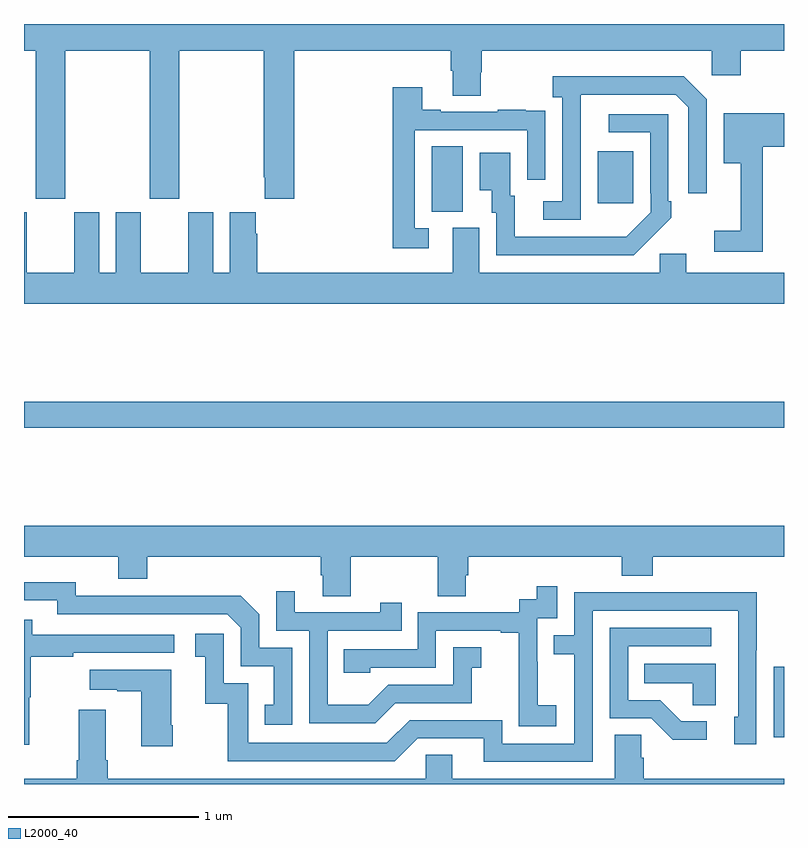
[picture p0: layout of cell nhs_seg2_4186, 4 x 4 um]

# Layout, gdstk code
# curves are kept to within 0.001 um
import gdstk
lib = gdstk.Library(unit=1e-6, precision=1e-09)
def R(c, l, rs):  # rectangles x0, y0, x1, y1
    for r in rs: c.add(gdstk.rectangle(r[:2], r[2:], *l))
def P(c, l, *ps):  # polygons
    for p in ps: c.add(gdstk.Polygon(p, *l))
L2000_40 = (2000, 40)

nhs_seg2_4186 = lib.new_cell('nhs_seg2_4186')
R(nhs_seg2_4186, L2000_40, [(340.947,620.046,341,620.416), (337,621.676,341,621.812), (339.146,622.813,339.31,623.156), (340.019,622.857,340.207,623.131)])
P(nhs_seg2_4186, L2000_40, [(337.218,623.66),(337.663,623.66),(337.663,622.881),(337.818,622.881),(337.818,623.66),(338.263,623.66),(338.263,622.993),(338.267,622.993),(338.267,622.881),(338.423,622.881),(338.423,623.66),(339.245,623.66),(339.245,623.554),(339.257,623.554),(339.257,623.422),(339.405,623.422),(339.405,623.547),(339.41,623.547),(339.41,623.66),(340.62,623.66),(340.62,623.529),(340.772,623.529),(340.772,623.66),(341,623.66),(341,623.8),(337,623.8),(337,623.66),(337.063,623.66),(337.063,622.881),(337.218,622.881)],
  [(339.93,623.227),(339.931,623.427),(340.431,623.427),(340.497,623.361),(340.497,622.908),(340.593,622.908),(340.593,623.403),(340.472,623.524),(339.783,623.524),(339.783,623.414),(339.834,623.414),(339.834,622.866),(339.732,622.866),(339.732,622.77),(339.93,622.77)],
  [(339.13,622.725),(339.057,622.725),(339.057,623.241),(339.648,623.241),(339.648,622.98),(339.744,622.98),(339.744,623.234),(339.743,623.234),(339.743,623.343),(339.641,623.343),(339.641,623.35),(339.493,623.35),(339.493,623.337),(339.193,623.337),(339.193,623.35),(339.097,623.35),(339.097,623.467),(338.941,623.467),(338.941,622.62),(339.13,622.62)],
  [(340.889,623.153),(341,623.153),(341,623.331),(340.682,623.331),(340.682,623.066),(340.772,623.066),(340.772,622.711),(340.632,622.711),(340.632,622.602),(340.889,622.602)],
  [(340.301,622.675),(340.302,622.674),(340.407,622.779),(340.407,622.867),(340.392,622.867),(340.392,623.325),(340.077,623.325),(340.077,623.229),(340.296,623.229),(340.296,622.909),(340.299,622.909),(340.299,622.809),(340.171,622.681),(339.583,622.68),(339.583,622.896),(339.559,622.896),(339.559,623.122),(339.398,623.122),(339.398,622.925),(339.461,622.925),(339.461,622.806),(339.486,622.806),(339.486,622.584),(340.21,622.584)],
  [(341,622.492),(340.486,622.492),(340.486,622.59),(340.347,622.59),(340.347,622.492),(339.397,622.492),(339.397,622.728),(339.257,622.728),(339.257,622.492),(338.228,622.492),(338.228,622.697),(338.221,622.697),(338.221,622.81),(338.084,622.81),(338.084,622.492),(337.996,622.492),(337.996,622.81),(337.865,622.81),(337.865,622.492),(337.615,622.492),(337.615,622.81),(337.484,622.81),(337.484,622.492),(337.396,622.492),(337.396,622.81),(337.265,622.81),(337.265,622.492),(337.015,622.492),(337.015,622.81),(337,622.81),(337,622.328),(341,622.328)],
  [(338.721,620.996),(339.178,620.996),(339.178,620.788),(339.325,620.788),(339.325,620.898),(339.338,620.898),(339.338,620.996),(340.145,620.996),(340.145,620.897),(340.31,620.897),(340.31,620.996),(341,620.996),(341,621.16),(337,621.16),(337,620.996),(337.496,620.996),(337.496,620.879),(337.649,620.879),(337.649,620.996),(338.561,620.996),(338.561,620.898),(338.573,620.898),(338.573,620.788),(338.721,620.788)],
  [(338.412,620.517),(338.238,620.517),(338.238,620.694),(338.14,620.792),(337.732,620.792),(337.732,620.79),(337.272,620.79),(337.272,620.863),(337,620.863),(337,620.766),(337.176,620.766),(337.176,620.694),(338.07,620.694),(338.142,620.622),(338.142,620.421),(338.315,620.421),(338.315,620.217),(338.266,620.217),(338.266,620.112),(338.412,620.112)],
  [(339.802,620.215),(339.704,620.215),(339.704,620.444),(339.702,620.444),(339.702,620.673),(339.807,620.673),(339.807,620.842),(339.699,620.842),(339.699,620.772),(339.606,620.772),(339.606,620.703),(339.072,620.703),(339.072,620.508),(338.683,620.508),(338.683,620.385),(338.823,620.385),(338.823,620.412),(339.168,620.412),(339.168,620.607),(339.509,620.607),(339.509,620.595),(339.605,620.595),(339.605,620.311),(339.604,620.311),(339.604,620.105),(339.802,620.105)],
  [(338.953,620.226),(339.357,620.226),(339.357,620.411),(339.406,620.411),(339.406,620.521),(339.258,620.521),(339.258,620.322),(338.916,620.322),(338.812,620.218),(338.598,620.218),(338.598,620.607),(338.987,620.607),(338.987,620.755),(338.876,620.755),(338.876,620.703),(338.425,620.703),(338.425,620.815),(338.328,620.815),(338.328,620.607),(338.502,620.607),(338.502,620.121),(338.848,620.121)],
  [(339.993,620.712),(340.758,620.712),(340.758,620.154),(340.739,620.154),(340.739,620.01),(340.854,620.01),(340.854,620.503),(340.857,620.503),(340.857,620.81),(340.393,620.81),(340.393,620.808),(339.897,620.808),(339.897,620.583),(339.787,620.583),(339.787,620.482),(339.897,620.482),(339.897,620.013),(339.516,620.013),(339.516,620.136),(339.03,620.136),(338.91,620.016),(338.181,620.016),(338.181,620.331),(338.052,620.331),(338.052,620.59),(337.902,620.59),(337.902,620.469),(337.955,620.469),(337.955,620.223),(338.073,620.223),(338.073,619.92),(338.952,619.92),(339.072,620.04),(339.419,620.04),(339.419,619.917),(339.993,619.917)],
  [(337.028,620.256),(337.036,620.256),(337.036,620.47),(337.259,620.47),(337.259,620.49),(337.792,620.49),(337.792,620.586),(337.043,620.586),(337.043,620.665),(337,620.665),(337,620.007),(337.028,620.007)],
  [(340.594,620.13),(340.459,620.13),(340.348,620.241),(340.179,620.241),(340.179,620.526),(340.618,620.526),(340.618,620.622),(340.083,620.622),(340.083,620.145),(340.302,620.145),(340.415,620.033),(340.594,620.033)],
  [(340.642,620.434),(340.264,620.434),(340.264,620.33),(340.521,620.33),(340.521,620.215),(340.642,620.215)],
  [(337.782,620.11),(337.774,620.11),(337.774,620.401),(337.347,620.401),(337.347,620.297),(337.49,620.297),(337.49,620.287),(337.616,620.287),(337.616,619.998),(337.782,619.998)],
  [(341,619.828),(340.262,619.828),(340.262,619.937),(340.248,619.937),(340.248,620.06),(340.109,620.06),(340.109,619.828),(339.253,619.828),(339.253,619.955),(339.114,619.955),(339.114,619.828),(337.442,619.828),(337.442,619.924),(337.429,619.924),(337.429,620.191),(337.289,620.191),(337.289,619.924),(337.277,619.924),(337.277,619.828),(337,619.828),(337,619.8),(341,619.8)])

lib.write_gds('nhs_seg2_4186.gds')
